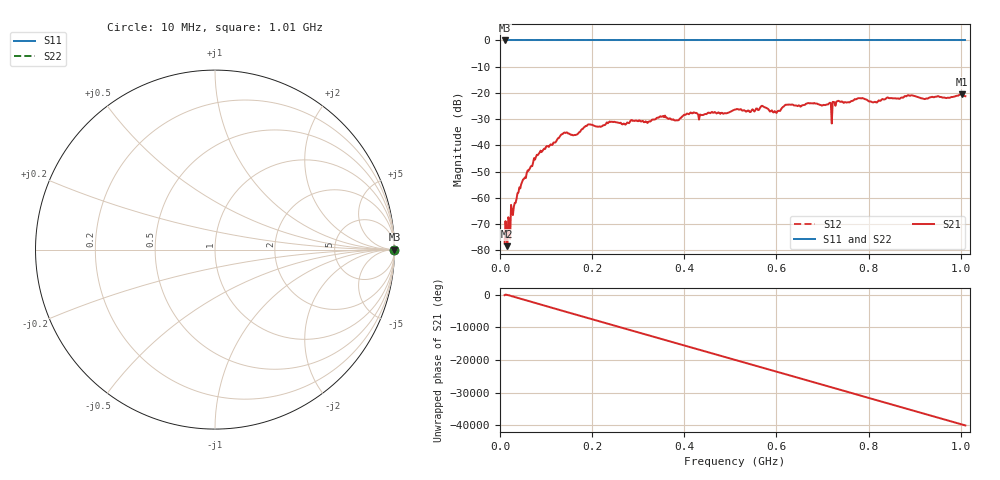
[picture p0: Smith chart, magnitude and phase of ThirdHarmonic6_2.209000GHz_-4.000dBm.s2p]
! 8/17/2025 2:19:04 AM
! C:\ANRITSUVNA\TEMP\TEMP.S2P
! CHANNEL.1
! TR.MEASUREMENT
! RAW.DATA
! RF.CORRECTION.OFF
! AVERAGING.OFF
! IF.BANDWIDTH: 5KHZ
! SWEEPTYPE:  FREQ.SWEEP(Linear)
! Reference Plane Port Info
! PORT:  PORT1  PORT2
! DISTANCE:  0  m  0  m
! TIME:  0  s  0  s
! PHASE.OFFSET:  0  deg.  0  deg.
! LOSS:  0  dB  0  dB
! REF.LOSS:  0  dB  0  dB
! REF.FREQ:  0  Hz  0  Hz
! Power Info
! POWER:  -20  dBm  -20  dBm
! EFF.POWER:  -20  dBm  -20  dBm
! SOURCE.ATTEN:  0  dB  0  dB
! TEST.ATTEN:  0  dB  0  dB
# GHZ S RI R 50.0
! FREQ.GHZ  S11RE  S11IM  S21RE  S21IM  S12RE  S12IM  S22RE  S22IM
!; PortSelection: Port_12
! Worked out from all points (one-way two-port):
!   501 points, 10 MHz to 1.01 GHz, reference 50 ohm
!   highest |S21| = -20.55 dB at 1.002 GHz (marker M1); lowest = -78.4 dB at 16 MHz (marker M2)
!   lowest |S11| = 0.0 dB at 10 MHz (marker M3)
!   |S11| at or under -10 dB: nowhere
!   |S22| runs from 0.0 to 0.0 dB; largest |S21 - S12| = 1.1
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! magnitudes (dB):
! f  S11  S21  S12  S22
! 10 MHz  0.0  -77.3  0.0  0.0
! 16 MHz  0.0  -78.4  0.0  0.0
! 18 MHz  0.0  -67.3  0.0  0.0
! 28 MHz  0.0  -66.5  0.0  0.0
! 46 MHz  0.0  -54.8  0.0  0.0
! 78 MHz  0.0  -44.4  0.0  0.0
! 136 MHz  0.0  -35.6  0.0  0.0
! 164 MHz  0.0  -36.0  0.0  0.0
! 178 MHz  0.0  -33.8  0.0  0.0
! 344 MHz  0.0  -29.4  0.0  0.0
! 384 MHz  0.0  -30.4  0.0  0.0
! 416 MHz  0.0  -27.7  0.0  0.0
! 510 MHz  0.0  -26.3  0.0  0.0
! 570 MHz  0.0  -25.0  0.0  0.0
! 596 MHz  0.0  -26.9  0.0  0.0
! 622 MHz  0.0  -24.5  0.0  0.0
! 678 MHz  0.0  -23.9  0.0  0.0
! 716 MHz  0.0  -23.7  0.0  0.0
! 734 MHz  0.0  -23.0  0.0  0.0
! 844 MHz  0.0  -22.0  0.0  0.0
! 1.002 GHz  0.0  -20.6  0.0  0.0
! 1.01 GHz  0.0  -21.2  0.0  0.0
